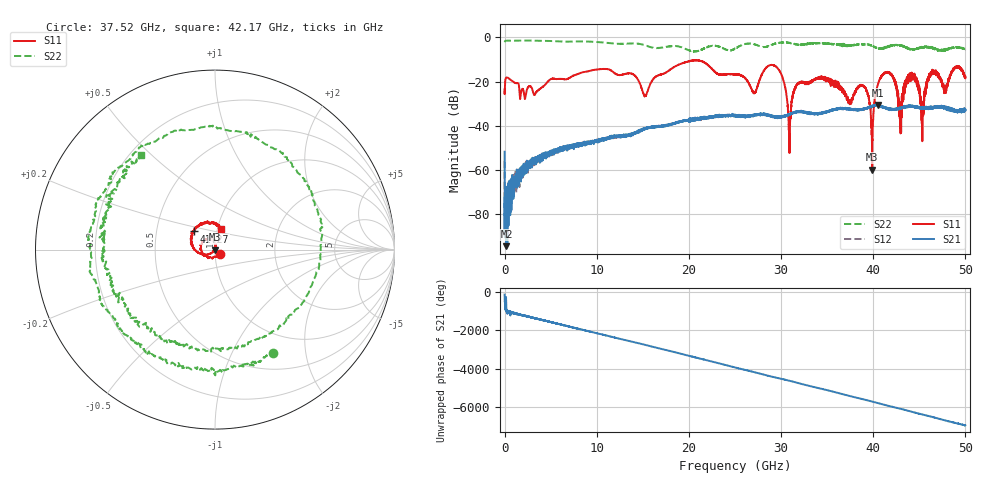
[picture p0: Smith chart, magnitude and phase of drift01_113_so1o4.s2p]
!Created with skrf (http://scikit-rf.org).
# Hz S RI R 50.0
!freq ReS11 ImS11 ReS21 ImS21 ReS12 ImS12 ReS22 ImS22
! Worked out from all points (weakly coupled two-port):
!   10001 points, 300 kHz to 50 GHz, reference 50 ohm
!   highest |S21| = -30.54 dB at 40.55 GHz (marker M1); lowest = -94.5 dB at 195.3 MHz (marker M2)
!   lowest |S11| = -59.8 dB at 39.89 GHz (marker M3), VSWR 1.00, Z = 49.9 + j0.0444 ohm
!   |S11| at or under -10 dB: start of sweep to end of sweep
!   |S22| runs from -6.4 to -1.4 dB; largest |S21 - S12| = 0.004
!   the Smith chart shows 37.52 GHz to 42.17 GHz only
!   S11 on the Smith chart (normalised r, x): 37.52 GHz: 1.05, -0.05; 41.27 GHz: 0.78, +0.16; 42.17 GHz: 1.04, +0.24
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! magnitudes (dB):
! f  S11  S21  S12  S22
! 300 kHz  -23.6  -51.7  -56.0  -2.1
! 195.3 MHz  -18.1  -94.5  -77.3  -1.4
! 8.335 GHz  -15.9  -48.3  -48.0  -1.8
! 16.67 GHz  -17.1  -40.5  -40.4  -4.8
! 25 GHz  -16.7  -35.5  -35.6  -5.0
! 27.1 GHz  -25.2  -35.1  -35.2  -3.1
! 29.44 GHz  -13.1  -36.0  -36.0  -2.7
! 30.92 GHz  -52.3  -34.8  -34.8  -2.5
! 31.67 GHz  -21.5  -33.8  -33.5  -3.1
! 33.34 GHz  -19.6  -34.4  -34.4  -2.6
! 37.52 GHz  -28.9  -32.2  -32.7  -3.6
! 38.97 GHz  -22.1  -32.4  -32.6  -3.1
! 39.89 GHz  -59.8  -30.8  -31.0  -3.7
! 40.55 GHz  -20.7  -30.5  -30.8  -5.0
! 41.27 GHz  -16.3  -31.9  -31.8  -4.5
! 41.67 GHz  -15.8  -32.4  -32.4  -4.1
! 42.17 GHz  -18.4  -32.5  -32.5  -3.5
! 42.96 GHz  -35.6  -32.2  -32.1  -3.7
! 44.05 GHz  -16.7  -31.2  -31.1  -5.3
! 45.3 GHz  -36.5  -32.0  -31.5  -4.5
! 46.42 GHz  -15.1  -32.4  -31.7  -4.7
! 50 GHz  -17.7  -32.9  -32.0  -5.4
